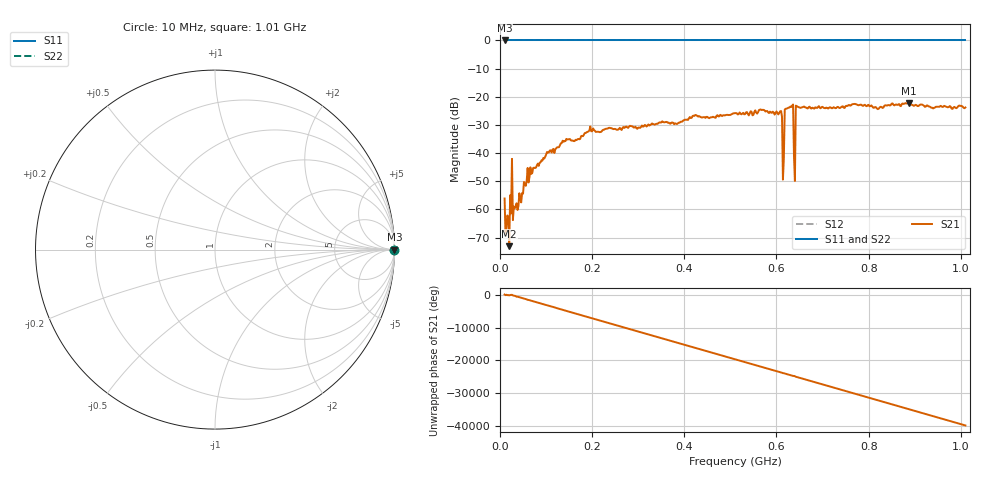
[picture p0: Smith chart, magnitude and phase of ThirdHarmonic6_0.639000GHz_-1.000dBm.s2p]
! 8/15/2025 9:08:46 PM
! C:\ANRITSUVNA\TEMP\TEMP.S2P
! CHANNEL.1
! TR.MEASUREMENT
! RAW.DATA
! RF.CORRECTION.OFF
! AVERAGING.OFF
! IF.BANDWIDTH: 5KHZ
! SWEEPTYPE:  FREQ.SWEEP(Linear)
! Reference Plane Port Info
! PORT:  PORT1  PORT2
! DISTANCE:  0  m  0  m
! TIME:  0  s  0  s
! PHASE.OFFSET:  0  deg.  0  deg.
! LOSS:  0  dB  0  dB
! REF.LOSS:  0  dB  0  dB
! REF.FREQ:  0  Hz  0  Hz
! Power Info
! POWER:  -20  dBm  -20  dBm
! EFF.POWER:  -20  dBm  -20  dBm
! SOURCE.ATTEN:  0  dB  0  dB
! TEST.ATTEN:  0  dB  0  dB
# GHZ S RI R 50.0
! FREQ.GHZ  S11RE  S11IM  S21RE  S21IM  S12RE  S12IM  S22RE  S22IM
!; PortSelection: Port_12
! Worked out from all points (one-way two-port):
!   501 points, 10 MHz to 1.01 GHz, reference 50 ohm
!   highest |S21| = -22.21 dB at 888 MHz (marker M1); lowest = -73.0 dB at 20 MHz (marker M2)
!   lowest |S11| = 0.0 dB at 10 MHz (marker M3)
!   |S11| at or under -10 dB: nowhere
!   |S22| runs from 0.0 to 0.0 dB; largest |S21 - S12| = 1.1
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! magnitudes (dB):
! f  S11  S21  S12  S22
! 10 MHz  0.0  -56.1  0.0  0.0
! 16 MHz  0.0  -62.1  0.0  0.0
! 20 MHz  0.0  -73.0  0.0  0.0
! 26 MHz  0.0  -42.0  0.0  0.0
! 36 MHz  0.0  -57.8  0.0  0.0
! 62 MHz  0.0  -50.4  0.0  0.0
! 104 MHz  0.0  -39.8  0.0  0.0
! 178 MHz  0.0  -33.9  0.0  0.0
! 344 MHz  0.0  -29.3  0.0  0.0
! 510 MHz  0.0  -25.8  0.0  0.0
! 606 MHz  0.0  -25.7  0.0  0.0
! 612 MHz  0.0  -27.1  0.0  0.0
! 618 MHz  0.0  -24.5  0.0  0.0
! 622 MHz  0.0  -24.2  0.0  0.0
! 632 MHz  0.0  -23.6  0.0  0.0
! 636 MHz  0.0  -22.7  0.0  0.0
! 642 MHz  0.0  -23.1  0.0  0.0
! 646 MHz  0.0  -23.5  0.0  0.0
! 678 MHz  0.0  -23.9  0.0  0.0
! 844 MHz  0.0  -22.9  0.0  0.0
! 888 MHz  0.0  -22.2  0.0  0.0
! 1.01 GHz  0.0  -23.8  0.0  0.0
